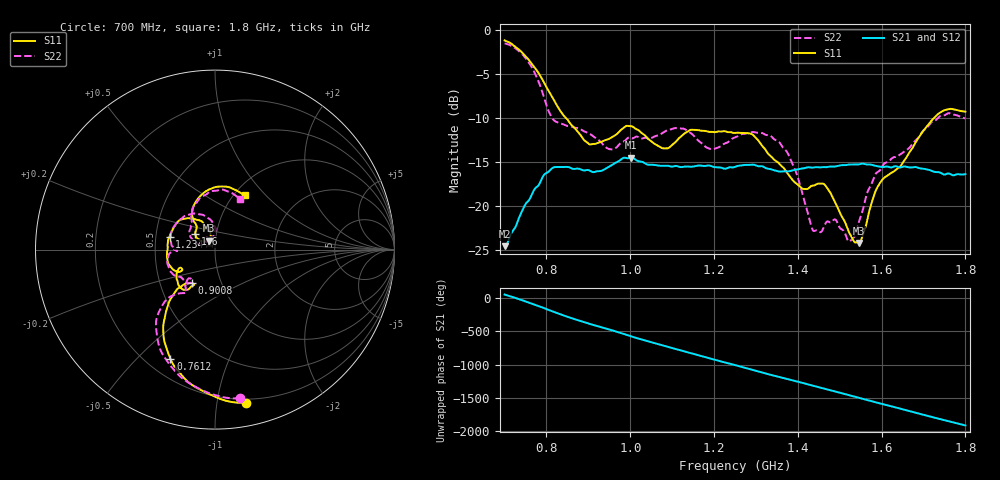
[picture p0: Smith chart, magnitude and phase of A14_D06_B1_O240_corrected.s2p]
! Created with skrf 1.9.0 (http://scikit-rf.org).
# Hz S RI R 50.0
!freq ReS11 ImS11 ReS21 ImS21 ReS12 ImS12 ReS22 ImS22
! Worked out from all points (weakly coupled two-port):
!   1601 points, 700 MHz to 1.8 GHz, reference 50 ohm
!   highest |S21| = -14.47 dB at 1.002 GHz (marker M1); lowest = -24.5 dB at 700.7 MHz (marker M2)
!   lowest |S11| = -24.1 dB at 1.546 GHz (marker M3), VSWR 1.13, Z = 46.3 + j4.7 ohm
!   |S11| at or under -10 dB: 846.9 MHz to 1.725 GHz (877.7 MHz wide, 68.3 % of centre)
!   |S22| runs from -24.0 to -1.5 dB; largest |S21 - S12| = 0.0034
!   S11 on the Smith chart (normalised r, x): 700 MHz: 0.17, -1.21; 761.2 MHz: 0.29, -0.63; 900.8 MHz: 0.72, -0.28; 1.234 GHz: 0.59, +0.09; 1.6 GHz: 0.79, +0.14; 1.8 GHz: 1.12, +0.77
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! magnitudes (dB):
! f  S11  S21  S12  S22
! 700 MHz  -1.2  -24.5  -24.3  -1.5
! 700.7 MHz  -1.2  -24.5  -24.2  -1.5
! 761.2 MHz  -3.6  -19.0  -19.0  -3.9
! 815.5 MHz  -7.8  -15.6  -15.7  -10.1
! 883.6 MHz  -12.1  -15.9  -15.8  -11.3
! 900.8 MHz  -12.9  -15.9  -15.9  -11.7
! 953 MHz  -12.3  -15.4  -15.4  -13.5
! 1.002 GHz  -10.9  -14.5  -14.6  -12.3
! 1.067 GHz  -13.2  -15.4  -15.3  -11.9
! 1.234 GHz  -11.6  -15.6  -15.6  -12.7
! 1.25 GHz  -11.7  -15.5  -15.5  -12.2
! 1.292 GHz  -11.9  -15.3  -15.3  -11.6
! 1.357 GHz  -15.2  -16.1  -16.0  -12.8
! 1.394 GHz  -17.4  -15.9  -15.8  -15.9
! 1.434 GHz  -17.7  -15.6  -15.6  -22.5
! 1.467 GHz  -17.7  -15.6  -15.5  -21.9
! 1.524 GHz  -23.1  -15.3  -15.3  -24.0
! 1.546 GHz  -24.1  -15.2  -15.2  -21.7
! 1.6 GHz  -17.1  -15.5  -15.5  -15.6
! 1.617 GHz  -16.4  -15.5  -15.5  -14.9
! 1.734 GHz  -9.6  -16.1  -16.2  -10.0
! 1.8 GHz  -9.3  -16.4  -16.3  -10.0
